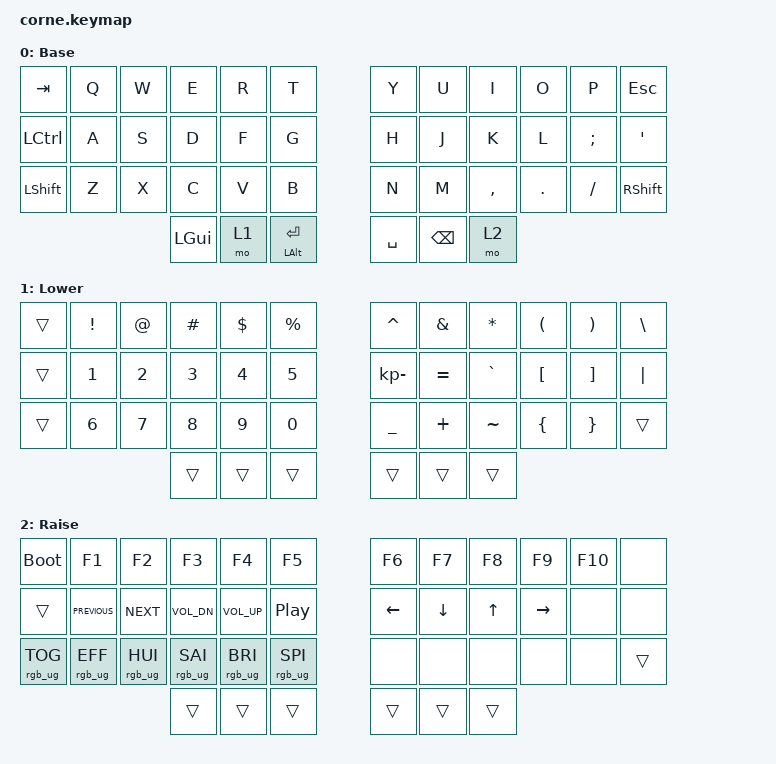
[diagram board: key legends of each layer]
/*
 * Copyright (c) 2020 The ZMK Contributors
 *
 * SPDX-License-Identifier: MIT
 */

#include <behaviors.dtsi>
#include <dt-bindings/zmk/keys.h>
#include <dt-bindings/zmk/rgb.h>

/ {
    keymap {
        compatible = "zmk,keymap";

        default_layer {
            // -----------------------------------------------------------------------------------------
            // |  TAB |  Q  |  W  |  E  |  R  |  T  |   |  Y  |  U   |  I  |  O  |  P  | BKSP |
            // | CTRL |  A  |  S  |  D  |  F  |  G  |   |  H  |  J   |  K  |  L  |  ;  |  '   |
            // | SHFT |  Z  |  X  |  C  |  V  |  B  |   |  N  |  M   |  ,  |  .  |  /  | ESC  |
            //                    | GUI | LWR | ENT |   | SPC | RSE  | ALT |

            display-name = "Base";
            bindings = <
&kp TAB    &kp Q  &kp W  &kp E     &kp R  &kp T                 &kp Y      &kp U          &kp I      &kp O    &kp P     &kp ESC
&kp LCTRL  &kp A  &kp S  &kp D     &kp F  &kp G                 &kp H      &kp J          &kp K      &kp L    &kp SEMI  &kp SQT
&kp LSHFT  &kp Z  &kp X  &kp C     &kp V  &kp B                 &kp N      &kp M          &kp COMMA  &kp DOT  &kp FSLH  &kp RIGHT_SHIFT
                         &kp LGUI  &mo 1  &mt LEFT_ALT ENTER    &kp SPACE  &kp BACKSPACE  &mo 2
            >;
        };

        lower_layer {
            // -----------------------------------------------------------------------------------------
            // |  TAB |  1  |  2  |  3  |  4  |  5  |   |  6  |  7  |  8  |  9  |  0  | BKSP |
            // | BTCLR| BT1 | BT2 | BT3 | BT4 | BT5 |   | LFT | DWN |  UP | RGT |     |      |
            // | SHFT |     |     |     |     |     |   |     |     |     |     |     |      |
            //                    | GUI |     | ENT |   | SPC |     | ALT |

            display-name = "Lower";
            bindings = <
&trans  &kp EXCLAMATION  &kp AT_SIGN   &kp HASH      &kp DOLLAR    &kp PERCENT    &kp CARET       &kp AMPERSAND  &kp ASTRK  &kp LEFT_PARENTHESIS  &kp RIGHT_PARENTHESIS  &kp BSLH
&trans  &kp NUMBER_1     &kp NUMBER_2  &kp NUMBER_3  &kp NUMBER_4  &kp N5         &kp KP_MINUS    &kp EQUAL      &kp GRAVE  &kp LEFT_BRACKET      &kp RIGHT_BRACKET      &kp PIPE
&trans  &kp NUMBER_6     &kp N7        &kp N8        &kp N9        &kp N0         &kp UNDERSCORE  &kp PLUS       &kp TILDE  &kp LEFT_BRACE        &kp RIGHT_BRACE        &trans
                                       &trans        &trans        &trans         &trans          &trans         &trans
            >;
        };

        raise_layer {
            // -----------------------------------------------------------------------------------------
            // |  TAB |  !  |  @  |  #  |  $  |  %  |   |  ^  |  &  |  *  |  (  |  )  | BKSP |
            // | CTRL |     |     |     |     |     |   |  -  |  =  |  [  |  ]  |  \  |  `   |
            // | SHFT |     |     |     |     |     |   |  _  |  +  |  {  |  }  | "|" |  ~   |
            //                    | GUI |     | ENT |   | SPC |     | ALT |

            display-name = "Raise";
            bindings = <
&bootloader      &kp F1           &kp F2           &kp F3           &kp F4           &kp F5              &kp F6    &kp F7    &kp F8  &kp F9     &kp F10  &none
&trans           &kp C_PREVIOUS   &kp C_NEXT       &kp C_VOL_DN     &kp C_VOL_UP     &kp C_PLAY_PAUSE    &kp LEFT  &kp DOWN  &kp UP  &kp RIGHT  &none    &none
&rgb_ug RGB_TOG  &rgb_ug RGB_EFF  &rgb_ug RGB_HUI  &rgb_ug RGB_SAI  &rgb_ug RGB_BRI  &rgb_ug RGB_SPI     &none     &none     &none   &none      &none    &trans
                                                   &trans           &trans           &trans              &trans    &trans    &trans
            >;
        };
    };
};
